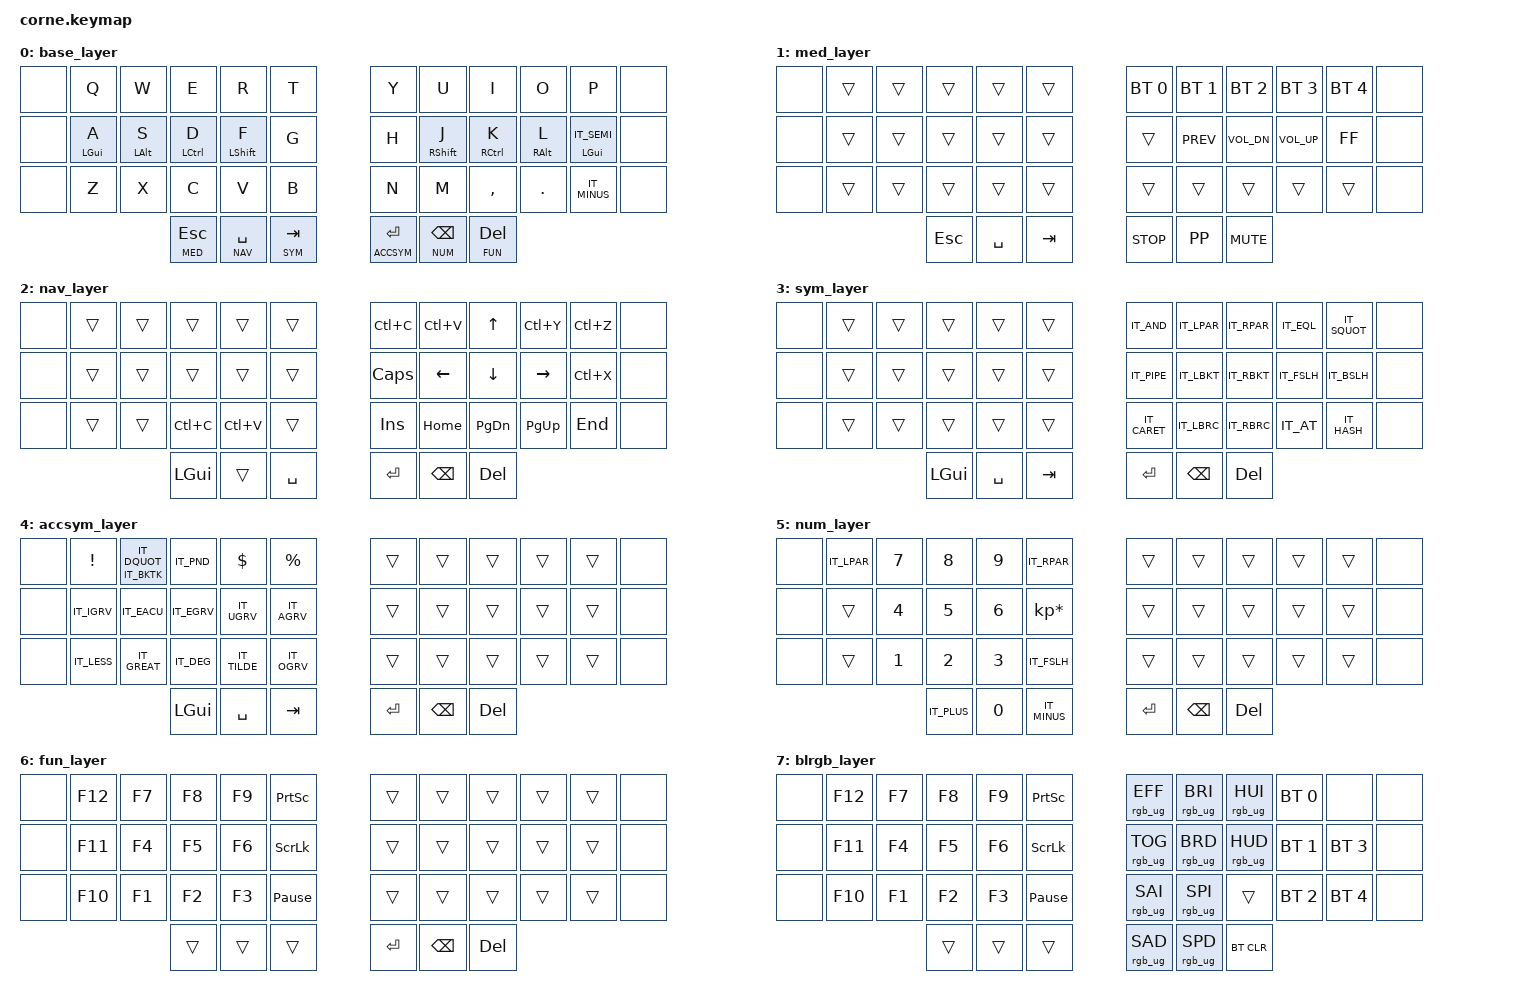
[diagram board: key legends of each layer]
/*
 * Copyright (c) 2020 The ZMK Contributors
 *
 * SPDX-License-Identifier: MIT
 */

#include <behaviors.dtsi>
#include <dt-bindings/zmk/keys.h>
#include <dt-bindings/zmk/bt.h>
#include <dt-bindings/zmk/rgb.h>
#include "keymap_italian.h"

// Layer definitions
#define BASE 0          //base_layer
#define MED 1           //med_layer
#define NAV 2           //nav_layer
#define SYM 3           //sym_layer 
#define ACCSYM 4        //accsym_layer
#define NUM 5           //num_layer
#define FUN 6           //fun_layer
#define BLRGB 7         //blrgb_layer

// tutti i led trattati come unica stringa led
&led_strip {
    chain-length = <27>;
};

/ {
        //Definitions of homerow mods
        behaviors {
                hm: homerow_tap_preferred_mods {
                compatible = "zmk,behavior-hold-tap";
                #binding-cells = <2>;
                tapping-term-ms = <200>;
                quick-tap-ms = <0>;
                flavor = "tap-preferred";
                bindings = <&kp>, <&kp>;
                };
        };

        //To access bluetooth and rgb layer hold ESC + SPC
        combos {
                compatible = "zmk,combos";
                        // two left-most thumb keys => blrgb_layer
                combo_numpad {  
                        timeout-ms = <300>;
                        key-positions = <36 37>;
                        bindings = <&mo BLRGB>;
                };
        };

        keymap {
                compatible = "zmk,keymap";

                base_layer {
// -----------------------------------------------------------------------------------------
// | xxx |  Q  |  W  |  E  |  R  |  T  |   |  Y  |  U   |  I  |  O  |  P  | xxx |
// | xxx |  A  |  S  |  D  |  F  |  G  |   |  H  |  J   |  K  |  L  |  ;  | xxx |
// | xxx |  Z  |  X  |  C  |  V  |  B  |   |  N  |  M   |  ,  |  .  |  -  | xxx |
//                   | ESC | SPC | TAB |   | ENT | BSPC | DEL |
                        bindings = <
   &none &kp Q      &kp W      &kp E       &kp R       &kp T        &kp Y &kp U       &kp I        &kp O      &kp P         &none
   &none &hm LGUI A &hm LALT S &hm LCTRL D &hm LSHFT F &kp G        &kp H &hm RSHFT J &hm RCTRL K  &hm RALT L &hm LGUI IT_SEMI &none
   &none &kp Z      &kp X      &kp C       &kp V       &kp B        &kp N &kp M       &kp COMMA    &kp DOT    &kp IT_MINUS  &none
                               &lt MED ESC &lt NAV SPC &lt SYM TAB  &lt ACCSYM RET    &lt NUM BSPC &lt FUN DEL
                        >;
                };

                med_layer {
// -----------------------------------------------------------------------------------------
// | xxx |     |     |     |     |     |    | BT1    | BT2    | BT3      | BT4      | BT5  | xxx |
// | xxx |     |     |     |     |     |    |        | K_PREV | K_VOL_DN | K_VOL_UP | C_FF | xxx |
// | xxx |     |     |     |     |     |    |        |        |          |          |      | xxx |
//                   | ESC | MED | SPC |    | K_STOP | K_PP   | K_MUTE   |
                        bindings = <
   &none &trans &trans &trans  &trans  &trans    &bt BT_SEL 0 &bt BT_SEL 1 &bt BT_SEL 2 &bt BT_SEL 3 &bt BT_SEL 4 &none
   &none &trans &trans &trans  &trans  &trans    &trans       &kp K_PREV   &kp K_VOL_DN &kp K_VOL_UP &kp C_FF     &none
   &none &trans &trans &trans  &trans  &trans    &trans       &trans       &trans       &trans       &trans       &none
                       &kp ESC &kp SPC &kp TAB   &kp K_STOP   &kp K_PP     &kp K_MUTE
                        >;
                };

                nav_layer {
// -----------------------------------------------------------------------------------------
// | xxx |     |     |      |       |     |   | Copy   | Paste |  UP   | Redo  | Undo | xxx |
// | xxx |     |     |      |       |     |   | Caps   | LEFT  | DOWN  | RIGHT | Cut  | xxx |
// | xxx |     |     | Copy | Paste |     |   | Insert | Home  | Pg Dn | Pg Up | End  | xxx |
//                   | ESC  |       | SPC |   | ENT    | BSPC  | DEL   |
                        bindings = <
   &none &trans &trans &trans    &trans    &trans     &kp LC(C)  &kp LC(V) &kp UP     &kp LC(Y) &kp LC(Z) &none
   &none &trans &trans &trans    &trans    &trans     &kp CAPS   &kp LEFT  &kp DOWN   &kp RIGHT &kp LC(X)  &none
   &none &trans &trans &kp LC(C) &kp LC(V) &trans     &kp INSERT &kp HOME  &kp PG_DN  &kp PG_UP &kp END   &none
                       &kp LGUI  &trans    &kp SPACE  &kp RET    &kp BSPC  &kp DEL
                        >;
                };

                sym_layer {
// -----------------------------------------------------------------------------------------
// | xxx |     |     |     |     |     |    |  &  |  (   |  )   |  =  |  '  | xxx |
// | xxx |     |     |     |     |     |    |  |  |  [   |  ]   |  /  |  \  | xxx |
// | xxx |     |     |     |     |     |    |  ^  |  {   |  }   |  @  |  #  | xxx |
//                   | ESC | SPC | TAB |    | ENT | BSPC | DEL  |         
                        bindings = <
   &none &trans &trans &trans   &trans  &trans     &kp IT_AND   &kp IT_LPAR &kp IT_RPAR &kp IT_EQL &kp IT_SQUOT &none
   &none &trans &trans &trans   &trans  &trans     &kp IT_PIPE  &kp IT_LBKT &kp IT_RBKT &kp IT_FSLH &kp IT_BSLH &none
   &none &trans &trans &trans   &trans  &trans     &kp IT_CARET &kp IT_LBRC &kp IT_RBRC &kp IT_AT &kp IT_HASH   &none
                       &kp LGUI &kp SPC &kp TAB    &kp RET      &kp BSPC    &kp DEL
                        >;
                };

                accsym_layer {
// -----------------------------------------------------------------------------------------
// | xxx |  !  | ` " |  £  |  $  |  %  |    |     |     |     |     |     | xxx |
// | xxx |  ì  |  é  |  è  |  ù  |  à  |    |     |     |     |     |     | xxx |
// | xxx |  <  |  >  |  °  |  ~  |  ò  |    |     |     |     |     |     | xxx |
//                   | ESC | SPC | TAB |    | ENT | BSPC | DEL  |         
                        bindings = <
   &none &kp EXCL    &mt IT_BKTK IT_DQUOT &kp IT_PND  &kp DLLR     &kp PRCNT   &trans  &trans   &trans &trans &trans &none
   &none &kp IT_IGRV &kp IT_EACU          &kp IT_EGRV &kp IT_UGRV  &kp IT_AGRV &trans  &trans   &trans &trans &trans &none
   &none &kp IT_LESS &kp IT_GREAT         &kp IT_DEG  &kp IT_TILDE &kp IT_OGRV &trans  &trans   &trans &trans &trans &none
                                          &kp LGUI    &kp SPC      &kp TAB     &kp RET &kp BSPC &kp DEL
                        >;
                };

                num_layer {
// -----------------------------------------------------------------------------------------
// | xxx |  (  |  7  |  8  |  9  |  )  |    |     |     |     |     |     | xxx |
// | xxx |     |  4  |  5  |  6  |  *  |    |     |     |     |     |     | xxx |
// | xxx |     |  1  |  2  |  3  |  /  |    |     |     |     |     |     | xxx |
//                   | +   |  0  |  -  |    | ENT | BSPC | DEL  |         
                        bindings = <
   &none &kp IT_LPAR &kp N7 &kp N8      &kp N9 &kp IT_RPAR        &trans  &trans   &trans &trans &trans &none
   &none &trans      &kp N4 &kp N5      &kp N6 &kp KP_MULTIPLY    &trans  &trans   &trans &trans &trans &none
   &none &trans      &kp N1 &kp N2      &kp N3 &kp IT_FSLH        &trans  &trans   &trans &trans &trans &none
                            &kp IT_PLUS &kp N0 &kp IT_MINUS       &kp RET &kp BSPC &kp DEL
                        >;
                };

                fun_layer {
// -----------------------------------------------------------------------------------------
// | xxx | F12 | F7  | F8  | F9  | PrtScr      |    |     |     |     |     |     | xxx |
// | xxx | F11 | F4  | F5  | F6  | Scrl lck    |    |     |     |     |     |     | xxx |
// | xxx | F10 | F1  | F2  | F3  | Pause/Break |    |     |     |     |     |     | xxx |
//                   |     |     |             |    | ENT | BSPC | DEL  |         
                        bindings = <
   &none &kp F12  &kp F7 &kp F8 &kp F9 &kp PSCRN         &trans  &trans   &trans &trans &trans &none
   &none &kp F11  &kp F4 &kp F5 &kp F6 &kp SLCK          &trans  &trans   &trans &trans &trans &none
   &none &kp F10  &kp F1 &kp F2 &kp F3 &kp PAUSE_BREAK   &trans  &trans   &trans &trans &trans &none
                         &trans &trans &trans            &kp RET &kp BSPC &kp DEL
                        >;
                };

                blrgb_layer {
// -----------------------------------------------------------------------------------------
// | xxx |     |     |     |     |     |    | RGB_EFF | RGB BRI+ | RGB_HUI | BT_SEL 0 |          | xxx |
// | xxx |     |     |     |     |     |    | RGB TOG | RGB_BRI- | RGB_HUD | BT_SEL 1 | BT_SEL 4 | xxx |
// | xxx |     |     |     |     |     |    | RGB_SAI | RGB_SPI  |         | BT_SEL 2 | BT_SEL 5 | xxx |
//                   |     |     |     |    | RGB_SAD | RGB_SPD  | BTCLR   |         
                        bindings = <
   &none &kp F12  &kp F7 &kp F8 &kp F9 &kp PSCRN         &rgb_ug RGB_EFF &rgb_ug RGB_BRI &rgb_ug RGB_HUI &bt BT_SEL 0 &none        &none
   &none &kp F11  &kp F4 &kp F5 &kp F6 &kp SLCK          &rgb_ug RGB_TOG &rgb_ug RGB_BRD &rgb_ug RGB_HUD &bt BT_SEL 1 &bt BT_SEL 3 &none
   &none &kp F10  &kp F1 &kp F2 &kp F3 &kp PAUSE_BREAK   &rgb_ug RGB_SAI &rgb_ug RGB_SPI &trans          &bt BT_SEL 2 &bt BT_SEL 4 &none
                         &trans &trans &trans            &rgb_ug RGB_SAD &rgb_ug RGB_SPD &bt BT_CLR
                        >;
                };

        };
};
